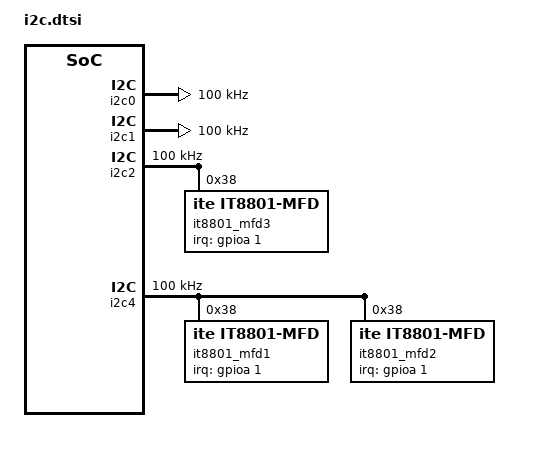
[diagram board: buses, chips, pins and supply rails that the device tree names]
/* Copyright 2022 The ChromiumOS Authors
 * Use of this source code is governed by a BSD-style license that can be
 * found in the LICENSE file.
 */

#include <ite/it8801-mfd-map.dtsi>

/ {
	named-i2c-ports {
		compatible = "named-i2c-ports";

		battery {
			i2c-port = <&i2c2>;
			enum-names = "I2C_PORT_BATTERY";
		};
		evb-1 {
			i2c-port = <&i2c0>;
			enum-names = "I2C_PORT_EVB_1";
		};
		evb-2 {
			i2c-port = <&i2c1>;
			enum-names = "I2C_PORT_EVB_2";
		};
		opt-4 {
			i2c-port = <&i2c4>;
			enum-names = "I2C_PORT_OPT_4";
		};
	};
};

&i2c0 {
	status = "okay";
	clock-frequency = <I2C_BITRATE_STANDARD>;
	pinctrl-0 = <&i2c0_clk_gpb3_default
		     &i2c0_data_gpb4_default>;
	pinctrl-names = "default";
};

&i2c1 {
	status = "okay";
	clock-frequency = <I2C_BITRATE_STANDARD>;
	pinctrl-0 = <&i2c1_clk_gpc1_default
		     &i2c1_data_gpc2_default>;
	pinctrl-names = "default";
};

&i2c2 {
	status = "okay";
	clock-frequency = <I2C_BITRATE_STANDARD>;
	pinctrl-0 = <&i2c2_clk_gpf6_default
		     &i2c2_data_gpf7_default>;
	pinctrl-names = "default";

	it8801_mfd3: it8801_mfd3@38 {
		compatible = "ite,it8801-mfd";
		reg = <0x38>;
		#address-cells = <1>;
		#size-cells = <1>;
		irq-gpios = <&gpioa 1 0>;

		ioex_it8801_pwm: it8801_pwm@90  {
			compatible = "ite,it8801-pwm";
			mfdctrl = <&pwm7_gp20_default>;
			reg = <0x90 1   /* PWMMCR */
			       0x94 1   /* PWMDCR */
			       0x96 1   /* PWMPRSL */
			       0x97 1>; /* PWMPRSM */
			channel = <7>;
			#pwm-cells = <3>;
		};

		ioex_it8801_pwm1: it8801_pwm1@98  {
			compatible = "ite,it8801-pwm";
			mfdctrl = <&pwm8_gp23_default>;
			reg = <0x98 1   /* PWMMCR */
			       0x9c 1   /* PWMDCR */
			       0x9e 1   /* PWMPRSL */
			       0x9f 1>; /* PWMPRSM */
			channel = <8>;
			#pwm-cells = <3>;
		};
	};
};

&i2c4 {
	status = "okay";
	clock-frequency = <I2C_BITRATE_STANDARD>;
	pinctrl-0 = <&i2c4_clk_gpe0_default
		     &i2c4_data_gpe7_default>;
	pinctrl-names = "default";

	it8801_mfd1: it8801_mfd1@38 {
		compatible = "ite,it8801-mfd";
		reg = <0x38>;
		#address-cells = <1>;
		#size-cells = <1>;
		irq-gpios = <&gpioa 1 0>;

		ioex_it8801_port0: it8801_port@0 {
			compatible = "ite,it8801-gpio";
			reg = <0x00 1   /* GPIPSR */
			       0x05 1   /* GPSOVR */
			       0x0a 8   /* GPCR */
			       0x32 1   /* GPISR */
			       0x37 1>; /* GPIER */
			gpio-controller;
			#gpio-cells = <2>;
			ngpios = <8>;
			pin-mask = <0xdb>;
		};

		ioex_it8801_port1: it8801_port@1 {
			compatible = "ite,it8801-gpio";
			reg = <0x01 1   /* GPIPSR */
			       0x06 1   /* GPSOVR */
			       0x12 8   /* GPCR */
			       0x33 1   /* GPISR */
			       0x38 1>; /* GPIER */
			gpio-controller;
			#gpio-cells = <2>;
			ngpios = <8>;
			pin-mask = <0x3f>;
		};

		ioex_it8801_port2: it8801_port@2 {
			compatible = "ite,it8801-gpio";
			reg = <0x02 1   /* GPIPSR */
			       0x07 1   /* GPSOVR */
			       0x1a 8   /* GPCR */
			       0x34 1   /* GPISR */
			       0x39 1>; /* GPIER */
			gpio-controller;
			#gpio-cells = <2>;
			ngpios = <8>;
			pin-mask = <0x0f>;
		};

	};


	it8801_mfd2: it8801_mfd2@38 {
		compatible = "ite,it8801-mfd";
		reg = <0x38>;
		#address-cells = <1>;
		#size-cells = <1>;
		irq-gpios = <&gpioa 1 0>;

		ioex_it8801_kbd: it8801_kbd@40  {
			compatible = "ite,it8801-kbd";
			reg = <0x40 1
			       0x41 1
			       0x42 1
			       0x43 1>;
			mfdctrl = <&kso18_gp01_default &kso20_gp23_default>;
			kso-mapping = <0 1 20 3 4 5 6
				       17 18 16 15 11 12>;
			row-size = <8>;
			col-size = <13>;

			kscan_input: kscan-input {
				compatible = "zephyr,kscan-input";
			};
		};
	};
};
